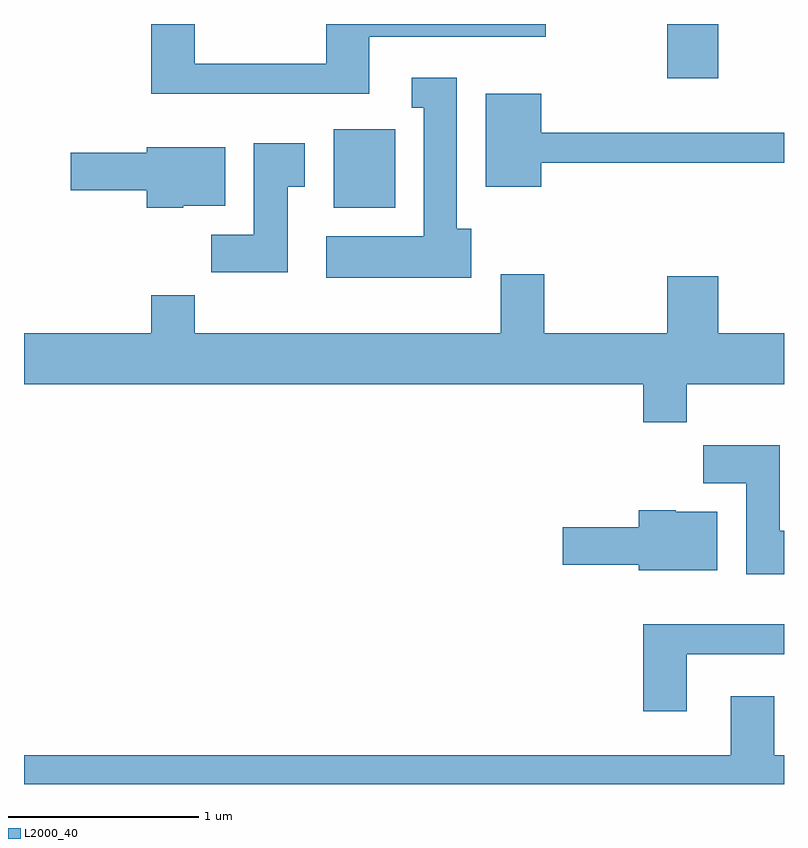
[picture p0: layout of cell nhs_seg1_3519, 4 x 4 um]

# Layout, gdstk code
import gdstk
lib = gdstk.Library(unit=1e-6, precision=1e-09)
def R(c, l, rs):  # rectangles x0, y0, x1, y1
    for r in rs: c.add(gdstk.rectangle(r[:2], r[2:], *l))
def P(c, l, *ps):  # polygons
    for p in ps: c.add(gdstk.Polygon(p, *l))
L2000_40 = (2000, 40)

nhs_seg1_3519 = lib.new_cell('nhs_seg1_3519')
R(nhs_seg1_3519, L2000_40, [(293.241,882.746,293.564,883.159), (294.996,883.426,295.264,883.712)])
P(nhs_seg1_3519, L2000_40, [(293.429,883.646),(294.358,883.646),(294.358,883.712),(293.201,883.712),(293.201,883.504),(292.509,883.504),(292.509,883.712),(292.281,883.712),(292.281,883.346),(293.429,883.346)],
  [(293.964,882.634),(293.889,882.634),(293.889,883.429),(293.653,883.429),(293.653,883.271),(293.716,883.271),(293.716,882.594),(293.201,882.594),(293.201,882.376),(293.964,882.376)],
  [(294.334,882.981),(295.611,882.981),(295.611,883.139),(294.334,883.139),(294.334,883.344),(294.041,883.344),(294.041,882.856),(294.334,882.856)],
  [(292.999,882.856),(293.089,882.856),(293.089,883.084),(292.821,883.084),(292.821,882.604),(292.596,882.604),(292.596,882.406),(292.999,882.406)],
  [(292.45,882.756),(292.669,882.756),(292.669,883.064),(292.256,883.064),(292.256,883.034),(291.856,883.034),(291.856,882.836),(292.256,882.836),(292.256,882.746),(292.45,882.746)],
  [(294.349,882.394),(294.121,882.394),(294.121,882.084),(292.509,882.084),(292.509,882.284),(292.281,882.284),(292.281,882.084),(291.611,882.084),(291.611,881.816),(294.871,881.816),(294.871,881.616),(295.099,881.616),(295.099,881.816),(295.611,881.816),(295.611,882.084),(295.264,882.084),(295.264,882.384),(294.996,882.384),(294.996,882.084),(294.349,882.084)],
  [(295.611,881.044),(295.589,881.044),(295.589,881.494),(295.186,881.494),(295.186,881.296),(295.411,881.296),(295.411,880.816),(295.611,880.816)],
  [(295.259,881.144),(295.04,881.144),(295.04,881.154),(294.846,881.154),(294.846,881.064),(294.446,881.064),(294.446,880.866),(294.846,880.866),(294.846,880.836),(295.259,880.836)],
  [(295.099,880.396),(295.611,880.396),(295.611,880.554),(294.871,880.554),(294.871,880.096),(295.099,880.096)],
  [(295.611,879.864),(295.559,879.864),(295.559,880.174),(295.331,880.174),(295.331,879.864),(291.611,879.864),(291.611,879.712),(295.611,879.712)])

lib.write_gds('nhs_seg1_3519.gds')
